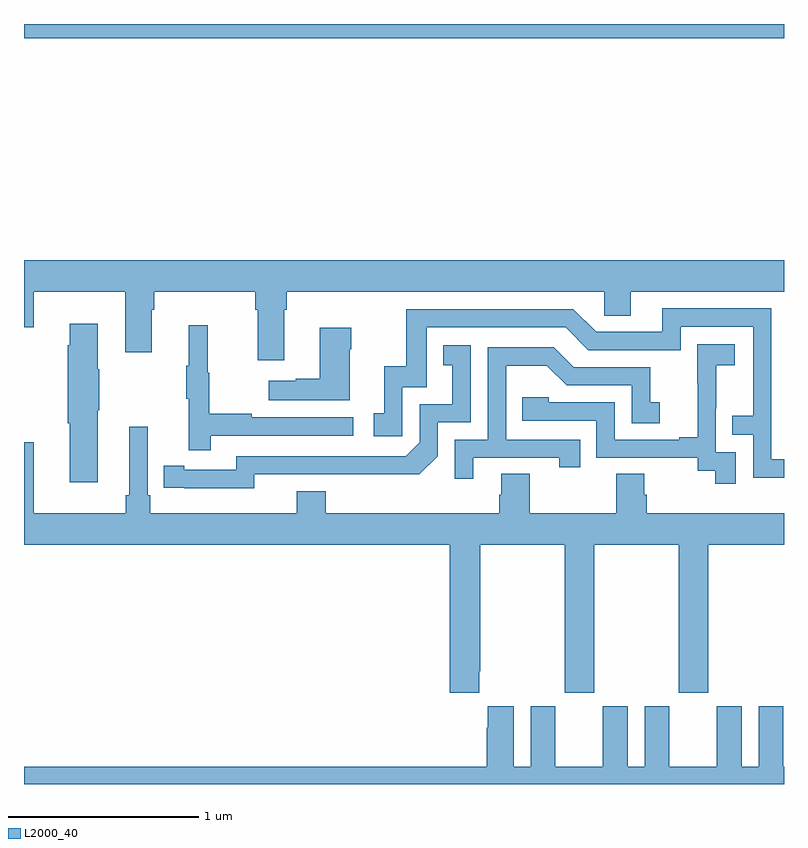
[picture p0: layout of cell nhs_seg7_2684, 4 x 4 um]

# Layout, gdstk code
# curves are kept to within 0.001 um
import gdstk
lib = gdstk.Library(unit=1e-6, precision=1e-09)
def R(c, l, rs):  # rectangles x0, y0, x1, y1
    for r in rs: c.add(gdstk.rectangle(r[:2], r[2:], *l))
def P(c, l, *ps):  # polygons
    for p in ps: c.add(gdstk.Polygon(p, *l))
L2000_40 = (2000, 40)

nhs_seg7_2684 = lib.new_cell('nhs_seg7_2684')
R(nhs_seg7_2684, L2000_40, [(285,1025.924,289,1026)])
P(nhs_seg7_2684, L2000_40, [(285,1024.404),(285.052,1024.404),(285.052,1024.592),(285.533,1024.592),(285.533,1024.272),(285.673,1024.272),(285.673,1024.496),(285.686,1024.496),(285.686,1024.592),(286.217,1024.592),(286.217,1024.496),(286.229,1024.496),(286.229,1024.23),(286.369,1024.23),(286.369,1024.496),(286.382,1024.496),(286.382,1024.592),(288.054,1024.592),(288.054,1024.465),(288.193,1024.465),(288.193,1024.592),(289,1024.592),(289,1024.756),(285,1024.756)],
  [(289,1023.708),(288.933,1023.708),(288.933,1024.503),(288.359,1024.503),(288.359,1024.38),(288.012,1024.38),(287.892,1024.5),(287.013,1024.5),(287.013,1024.198),(286.895,1024.198),(286.895,1023.951),(286.842,1023.951),(286.842,1023.831),(286.992,1023.831),(286.992,1024.089),(287.121,1024.089),(287.121,1024.404),(287.85,1024.404),(287.97,1024.284),(288.456,1024.284),(288.456,1024.407),(288.837,1024.407),(288.837,1023.938),(288.727,1023.938),(288.727,1023.837),(288.837,1023.837),(288.837,1023.612),(289,1023.612)],
  [(285.388,1023.967),(285.396,1023.967),(285.396,1024.184),(285.388,1024.184),(285.388,1024.423),(285.242,1024.423),(285.242,1024.31),(285.23,1024.31),(285.23,1023.9),(285.242,1023.9),(285.242,1023.588),(285.388,1023.588)],
  [(285.983,1023.834),(286.732,1023.834),(286.732,1023.93),(286.199,1023.93),(286.199,1023.95),(285.976,1023.95),(285.976,1024.164),(285.968,1024.164),(285.968,1024.414),(285.866,1024.414),(285.866,1024.201),(285.855,1024.201),(285.855,1024.027),(285.866,1024.027),(285.866,1023.756),(285.983,1023.756)],
  [(286.714,1024.289),(286.722,1024.289),(286.722,1024.402),(286.556,1024.402),(286.556,1024.133),(286.43,1024.133),(286.43,1024.123),(286.287,1024.123),(286.287,1024.019),(286.714,1024.019)],
  [(288.747,1023.747),(288.642,1023.747),(288.642,1023.977),(288.644,1023.977),(288.644,1024.205),(288.742,1024.205),(288.742,1024.315),(288.544,1024.315),(288.544,1024.109),(288.545,1024.109),(288.545,1023.826),(288.449,1023.826),(288.449,1023.813),(288.108,1023.813),(288.108,1024.008),(287.763,1024.008),(287.763,1024.035),(287.623,1024.035),(287.623,1023.912),(288.012,1023.912),(288.012,1023.717),(288.546,1023.717),(288.546,1023.649),(288.639,1023.649),(288.639,1023.579),(288.747,1023.579)],
  [(286.212,1023.63),(287.08,1023.629),(287.178,1023.726),(287.178,1023.903),(287.352,1023.903),(287.352,1024.309),(287.206,1024.309),(287.206,1024.203),(287.255,1024.203),(287.255,1023.999),(287.082,1023.999),(287.082,1023.798),(287.01,1023.726),(286.116,1023.726),(286.116,1023.654),(285.844,1023.654),(285.844,1023.674),(285.736,1023.674),(285.736,1023.558),(286.212,1023.557)],
  [(287.365,1023.717),(287.816,1023.717),(287.816,1023.666),(287.927,1023.666),(287.927,1023.813),(287.538,1023.813),(287.538,1024.202),(287.752,1024.202),(287.856,1024.098),(288.198,1024.098),(288.198,1023.9),(288.346,1023.9),(288.346,1024.009),(288.297,1024.009),(288.297,1024.194),(287.893,1024.194),(287.788,1024.299),(287.442,1024.299),(287.442,1023.813),(287.268,1023.813),(287.268,1023.606),(287.365,1023.606)],
  [(287.395,1022.593),(287.4,1022.593),(287.4,1023.26),(287.845,1023.26),(287.845,1022.481),(288,1022.481),(288,1023.26),(288.445,1023.26),(288.445,1022.481),(288.6,1022.481),(288.6,1023.26),(289,1023.26),(289,1023.424),(288.278,1023.424),(288.278,1023.522),(288.265,1023.522),(288.265,1023.632),(288.118,1023.632),(288.118,1023.424),(287.661,1023.424),(287.661,1023.632),(287.513,1023.632),(287.513,1023.522),(287.501,1023.522),(287.501,1023.424),(286.589,1023.424),(286.589,1023.541),(286.436,1023.541),(286.436,1023.424),(285.665,1023.424),(285.665,1023.52),(285.651,1023.52),(285.651,1023.88),(285.554,1023.88),(285.554,1023.52),(285.535,1023.52),(285.535,1023.424),(285.052,1023.424),(285.052,1023.799),(285,1023.799),(285,1023.26),(287.24,1023.26),(287.24,1022.481),(287.395,1022.481)],
  [(289,1022.092),(288.997,1022.092),(288.997,1022.41),(288.866,1022.41),(288.866,1022.092),(288.778,1022.092),(288.778,1022.41),(288.647,1022.41),(288.647,1022.092),(288.397,1022.092),(288.397,1022.41),(288.266,1022.41),(288.266,1022.092),(288.178,1022.092),(288.178,1022.41),(288.047,1022.41),(288.047,1022.092),(287.797,1022.092),(287.797,1022.41),(287.666,1022.41),(287.666,1022.092),(287.578,1022.092),(287.578,1022.41),(287.441,1022.41),(287.441,1022.297),(287.435,1022.297),(287.435,1022.092),(285,1022.092),(285,1022),(289,1022)])

lib.write_gds('nhs_seg7_2684.gds')
